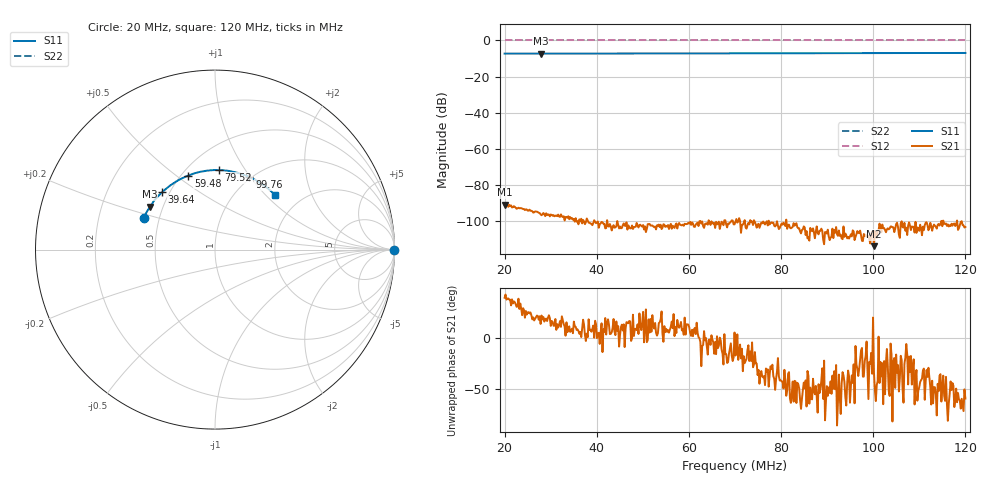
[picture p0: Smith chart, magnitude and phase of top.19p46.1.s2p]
! Anritsu VNA Master:  Model: MS2036C/10/77
! SN:  1601066
! /bd0/18may08.cable.cal/top.19p46.1.s2p
! Existing Calibration Information:
! TYPE:  Current Settings,  Active Cal Settings
! TIME:  05/08/2018 03:48:41 PM,  05/08/2018 03:47:05 PM
! INTERNAL TEMP:  50.5 C,  50.5 C
! # POINTS:  500,  500
! START FREQ:  20.000 MHz,  20.000 MHz
! STOP FREQ:  120.000 MHz,  120.000 MHz
! SOURCE POWER:  High,  High
! IFBW:  50 Hz,  50 Hz
! AVG FACTOR:  1 ,  1
! REF PLANE 1:  0 mm,  0 mm
! REF PLANE 2:  0 mm,  0 mm
! CAL TYPE:  Full S11,  Full S11
! CAL METHOD:  SOLT,  SOLT
! CAL LINE TYPE:  Coax,  Coax
! DUT PORT 1:  K-Conn(F),  K-Conn(F)
! DUT PORT 2:  K-Conn(F),  K-Conn(F)
! CAL STATUS:  OK: Accuracy High,  --
# GHZ S DB R 50.0
! FREQ.GHZ  S11DB  S11A  S21DB  S21A  S12DB  S12A  S22DB  S22A
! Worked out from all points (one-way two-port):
!   500 points, 20 MHz to 120 MHz, reference 50 ohm
!   highest |S21| = -90.74 dB at 20 MHz (marker M1); lowest = -113.7 dB at 100.2 MHz (marker M2)
!   lowest |S11| = -7.3 dB at 27.82 MHz (marker M3), VSWR 2.53, Z = 21.2 + j12.5 ohm
!   |S11| at or under -10 dB: nowhere
!   |S22| runs from 0.0 to 0.0 dB; largest |S21 - S12| = 1
!   S11 on the Smith chart (normalised r, x): 20 MHz: 0.41, +0.18; 39.64 MHz: 0.46, +0.36; 59.48 MHz: 0.54, +0.55; 79.52 MHz: 0.70, +0.77; 99.76 MHz: 0.98, +0.99; 120 MHz: 1.48, +1.13
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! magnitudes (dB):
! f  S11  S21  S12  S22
! 20 MHz  -7.2  -90.7  0.0  0.0
! 25.41 MHz  -7.2  -93.5  0.0  0.0
! 27.82 MHz  -7.3  -96.1  0.0  0.0
! 30.62 MHz  -7.2  -96.5  0.0  0.0
! 31.62 MHz  -7.2  -96.2  0.0  0.0
! 36.83 MHz  -7.2  -101.1  0.0  0.0
! 39.64 MHz  -7.2  -100.2  0.0  0.0
! 46.65 MHz  -7.2  -104.5  0.0  0.0
! 53.47 MHz  -7.2  -101.7  0.0  0.0
! 59.48 MHz  -7.2  -101.5  0.0  0.0
! 61.88 MHz  -7.2  -100.7  0.0  0.0
! 62.89 MHz  -7.1  -100.0  0.0  0.0
! 70.1 MHz  -7.1  -100.2  0.0  0.0
! 79.52 MHz  -7.1  -104.2  0.0  0.0
! 86.73 MHz  -7.0  -105.4  0.0  0.0
! 94.55 MHz  -7.0  -108.6  0.0  0.0
! 99.76 MHz  -7.0  -105.7  0.0  0.0
! 100.2 MHz  -7.0  -113.7  0.0  0.0
! 103.4 MHz  -7.0  -104.4  0.0  0.0
! 108.6 MHz  -7.0  -103.1  0.0  0.0
! 116.8 MHz  -6.9  -102.5  0.0  0.0
! 120 MHz  -6.9  -103.0  0.0  0.0
